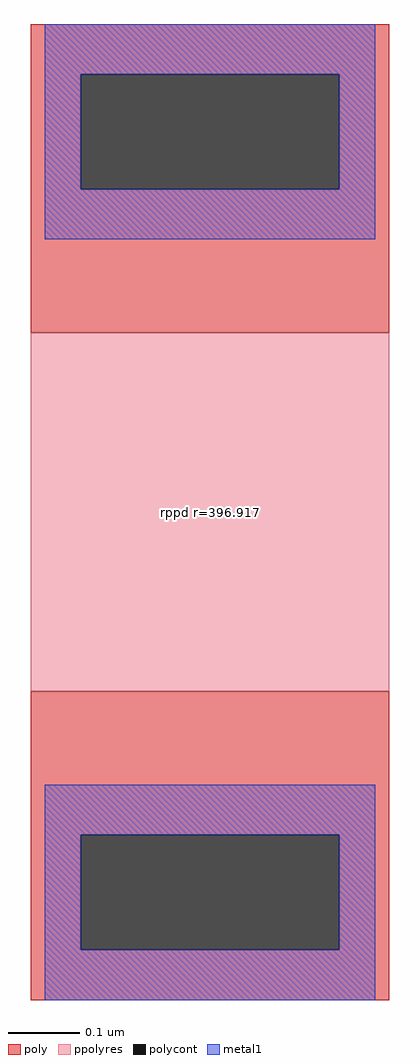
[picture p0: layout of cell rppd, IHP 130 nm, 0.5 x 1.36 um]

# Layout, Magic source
magic
tech ihp-sg13g2
<< poly >>
rect 0 86 50 93
rect 0 70 7 86
rect 43 70 50 86
rect 0 50 50 70
rect 0 -20 50 0
rect 0 -36 7 -20
rect 43 -36 50 -20
rect 0 -43 50 -36
<< polycont >>
rect 7 70 43 86
rect 7 -36 43 -20
<< ppolyres >>
rect 0 0 50 50
<< metal1 >>
rect 2 86 48 93
rect 2 70 7 86
rect 43 70 48 86
rect 2 63 48 70
rect 2 -20 48 -13
rect 2 -36 7 -20
rect 43 -36 48 -20
rect 2 -43 48 -36
<< labels >>
flabel comment s 25 25 25 25 0 FreeSans 80 90 0 0 rppd r=396.917
<< end >>
